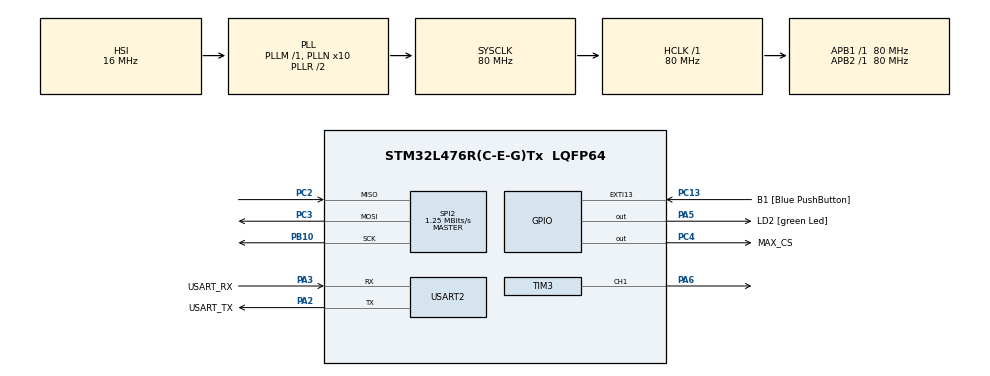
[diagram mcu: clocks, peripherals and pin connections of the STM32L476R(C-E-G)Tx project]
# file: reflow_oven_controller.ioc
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Mcu.Family=STM32L4
PC3.Mode=Full_Duplex_Master
PA2.GPIO_PuPd=GPIO_NOPULL
RCC.CortexFreq_Value=80000000
SPI2.VirtualType=VM_MASTER
PB10.Mode=Full_Duplex_Master
PH0-OSC_IN\ (PH0).Signal=RCC_OSC_IN
PA3.GPIO_PuPd=GPIO_NOPULL
PA2.GPIO_Speed=GPIO_SPEED_FREQ_VERY_HIGH
PC15-OSC32_OUT\ (PC15).Mode=LSE-External-Oscillator
PC13.GPIO_Label=B1 [Blue PushButton]
PA3.GPIO_Speed=GPIO_SPEED_FREQ_VERY_HIGH
RCC.SYSCLKSource=RCC_SYSCLKSOURCE_PLLCLK
ProjectManager.StackSize=0x400
PB3\ (JTDO-TRACESWO).Signal=SYS_JTDO-SWO
PC14-OSC32_IN\ (PC14).Mode=LSE-External-Oscillator
VP_FREERTOS_VS_CMSIS_V2.Mode=CMSIS_V2
PA14\ (JTCK-SWCLK).Signal=SYS_JTCK-SWCLK
RCC.HCLKFreq_Value=80000000
RCC.APB2TimFreq_Value=80000000
TIM3.Period=4095 - 1
PC3.Signal=SPI2_MOSI
RCC.AHBFreq_Value=80000000
RCC.PREFETCH_ENABLE=1
SPI2.BaudRatePrescaler=SPI_BAUDRATEPRESCALER_64
TIM3.Channel-PWM\ Generation1\ CH1=TIM_CHANNEL_1
RCC.HSE_VALUE=8000000
USART2.VirtualMode-Asynchronous=VM_ASYNC
PC4.GPIO_Label=MAX_CS
TIM3.Prescaler=9768 - 1
PA5.GPIO_PuPd=GPIO_NOPULL
PC13.GPIO_PuPd=GPIO_NOPULL
SPI2.CalculateBaudRate=1.25 MBits/s
SH.S_TIM3_CH1.0=TIM3_CH1,PWM Generation1 CH1
FREERTOS.configTOTAL_HEAP_SIZE=15000
Mcu.Package=LQFP64
PA6.Signal=S_TIM3_CH1
NVIC.TimeBase=TIM7_IRQn
SPI2.Mode=SPI_MODE_MASTER
PA2.GPIO_Label=USART_TX
NVIC.TimeBaseIP=TIM7
RCC.APB1TimFreq_Value=80000000
SPI2.Direction=SPI_DIRECTION_2LINES
PA13\ (JTMS-SWDIO).Signal=SYS_JTMS-SWDIO
NVIC.TIM7_IRQn=true\:0\:0\:false\:false\:true\:false\:false\:true
VP_TIM3_VS_ClockSourceINT.Mode=Internal
PA3.Signal=USART2_RX
PA2.GPIO_Mode=GPIO_MODE_AF_PP
RCC.MSI_VALUE=4000000
RCC.PLLSourceVirtual=RCC_PLLSOURCE_HSI
PA14\ (JTCK-SWCLK).Mode=Serial_Wire
FREERTOS.Tasks01=defaultTask,24,512,StartDefaultTask,Default,NULL,Dynamic,NULL,NULL
PC13.Signal=GPXTI13
VP_SYS_VS_tim7.Mode=TIM7
PC2.Signal=SPI2_MISO
PC4.Signal=GPIO_Output
PC2.Mode=Full_Duplex_Master
PC15-OSC32_OUT\ (PC15).Signal=RCC_OSC32_OUT
PA14\ (JTCK-SWCLK).GPIO_Label=TCK
PB3\ (JTDO-TRACESWO).GPIO_Label=SWO
PH1-OSC_OUT\ (PH1).Signal=RCC_OSC_OUT
PA3.Mode=Asynchronous
ProjectManager.TargetToolchain=STM32CubeIDE
PA3.GPIO_Mode=GPIO_MODE_AF_PP
RCC.USBFreq_Value=64000000
PB10.Signal=SPI2_SCK
PA5.Signal=GPIO_Output
board=NUCLEO-L476RG
RCC.VCOOutputFreq_Value=160000000
RCC.APB2Freq_Value=80000000
PA5.GPIO_ModeDefaultOutputPP=GPIO_MODE_OUTPUT_PP
PA13\ (JTMS-SWDIO).GPIO_Label=TMS
RCC.ADCFreq_Value=64000000
Mcu.Name=STM32L476R(C-E-G)Tx
PA2.Signal=USART2_TX
PA13\ (JTMS-SWDIO).Mode=Serial_Wire
RCC.SYSCLKFreq_VALUE=80000000
PA5.GPIO_Label=LD2 [green Led]
PC13.GPIO_ModeDefaultEXTI=GPIO_MODE_IT_FALLING
PC14-OSC32_IN\ (PC14).Signal=RCC_OSC32_IN
ProjectManager.HeapSize=0x200
RCC.HSI_VALUE=16000000
PA5.GPIO_Speed=GPIO_SPEED_FREQ_LOW
NVIC.PriorityGroup=NVIC_PRIORITYGROUP_4
RCC.PLLN=10
PA2.Mode=Asynchronous
SPI2.DataSize=SPI_DATASIZE_8BIT
RCC.APB1Freq_Value=80000000
PA3.GPIO_Label=USART_RX

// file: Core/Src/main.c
/* USER CODE BEGIN Header */
/**
  ******************************************************************************
  * @file           : main.c
  * @brief          : Main program body
  ******************************************************************************
  * @attention
  *
  * <h2><center>&copy; Copyright (c) 2021 STMicroelectronics.
  * All rights reserved.</center></h2>
  *
  * This software component is licensed by ST under BSD 3-Clause license,
  * the "License"; You may not use this file except in compliance with the
  * License. You may obtain a copy of the License at:
  *                        opensource.org/licenses/BSD-3-Clause
  *
  ******************************************************************************
  */
/* USER CODE END Header */
#include "main.h"
#include "cmsis_os.h"

/* USER CODE BEGIN Includes */
#include "string.h"
#include "printf.h"
#include "uart.h"
#include "console.h"
#include "cmd.h"
#include "log.h"
#include "reflow.h"
/* USER CODE END Includes */

SPI_HandleTypeDef hspi2;

TIM_HandleTypeDef htim3;

/* Definitions for defaultTask */
osThreadId_t defaultTaskHandle;
const osThreadAttr_t defaultTask_attributes = {
    .name = "defaultTask",
    .stack_size = 512 * 4,
    .priority = (osPriority_t)osPriorityNormal,
};
/* USER CODE BEGIN PV */

static const Reflow_cfg_t reflow_cfg =
    {
        .pwm_timer_handle = &htim3,   // PWM Timer handle.
        .pwm_channel = TIM_CHANNEL_1, // PWM Timer channel.
        .max_cfg = {                  // MAX31855K Thermocouple IC configuration structure.
                    .hspi = &hspi2,
                    .max_cs_port = MAX_CS_GPIO_Port,
                    .max_cs_pin = MAX_CS_Pin}};
/* USER CODE END PV */

void SystemClock_Config(void);
static void MX_GPIO_Init(void);
static void MX_USART2_UART_Init(void);
static void MX_TIM3_Init(void);
static void MX_SPI2_Init(void);
void StartDefaultTask(void *argument);

int main(void)
{

    /* MCU Configuration--------------------------------------------------------*/

    /* Reset of all peripherals, Initializes the Flash interface and the Systick. */
    HAL_Init();

    /* Configure the system clock */
    SystemClock_Config();

    /* Initialize all configured peripherals */
    MX_GPIO_Init();
    MX_USART2_UART_Init();
    MX_TIM3_Init();
    MX_SPI2_Init();
    /* USER CODE BEGIN 2 */
    uart_config_t uart_cfg = {.uart_reg_base = USART2, .irq_num = USART2_IRQn};
    uart_init(&uart_cfg);
    uart_start();
    HAL_GPIO_WritePin(LD2_GPIO_Port, LD2_Pin, GPIO_PIN_SET);
    /* USER CODE END 2 */

    /* Init scheduler */
    osKernelInitialize();

    /* Create the thread(s) */
    /* creation of defaultTask */
    defaultTaskHandle = osThreadNew(StartDefaultTask, NULL, &defaultTask_attributes);

    /* Start scheduler */
    osKernelStart();

    /* We should never get here as control is now taken by the scheduler */
    /* Infinite loop */
    while (1)
    {

    }
}

void SystemClock_Config(void)
{
    RCC_OscInitTypeDef RCC_OscInitStruct = {0};
    RCC_ClkInitTypeDef RCC_ClkInitStruct = {0};
    RCC_PeriphCLKInitTypeDef PeriphClkInit = {0};

    /** Initializes the RCC Oscillators according to the specified parameters
  * in the RCC_OscInitTypeDef structure.
  */
    RCC_OscInitStruct.OscillatorType = RCC_OSCILLATORTYPE_HSI;
    RCC_OscInitStruct.HSIState = RCC_HSI_ON;
    RCC_OscInitStruct.HSICalibrationValue = RCC_HSICALIBRATION_DEFAULT;
    RCC_OscInitStruct.PLL.PLLState = RCC_PLL_ON;
    RCC_OscInitStruct.PLL.PLLSource = RCC_PLLSOURCE_HSI;
    RCC_OscInitStruct.PLL.PLLM = 1;
    RCC_OscInitStruct.PLL.PLLN = 10;
    RCC_OscInitStruct.PLL.PLLP = RCC_PLLP_DIV7;
    RCC_OscInitStruct.PLL.PLLQ = RCC_PLLQ_DIV2;
    RCC_OscInitStruct.PLL.PLLR = RCC_PLLR_DIV2;
    if (HAL_RCC_OscConfig(&RCC_OscInitStruct) != HAL_OK)
    {
        Error_Handler();
    }
    /** Initializes the CPU, AHB and APB buses clocks
  */
    RCC_ClkInitStruct.ClockType = RCC_CLOCKTYPE_HCLK | RCC_CLOCKTYPE_SYSCLK | RCC_CLOCKTYPE_PCLK1 | RCC_CLOCKTYPE_PCLK2;
    RCC_ClkInitStruct.SYSCLKSource = RCC_SYSCLKSOURCE_PLLCLK;
    RCC_ClkInitStruct.AHBCLKDivider = RCC_SYSCLK_DIV1;
    RCC_ClkInitStruct.APB1CLKDivider = RCC_HCLK_DIV1;
    RCC_ClkInitStruct.APB2CLKDivider = RCC_HCLK_DIV1;

    if (HAL_RCC_ClockConfig(&RCC_ClkInitStruct, FLASH_LATENCY_4) != HAL_OK)
    {
        Error_Handler();
    }
    PeriphClkInit.PeriphClockSelection = RCC_PERIPHCLK_USART2;
    PeriphClkInit.Usart2ClockSelection = RCC_USART2CLKSOURCE_PCLK1;
    if (HAL_RCCEx_PeriphCLKConfig(&PeriphClkInit) != HAL_OK)
    {
        Error_Handler();
    }
    /** Configure the main internal regulator output voltage
  */
    if (HAL_PWREx_ControlVoltageScaling(PWR_REGULATOR_VOLTAGE_SCALE1) != HAL_OK)
    {
        Error_Handler();
    }
}

static void MX_SPI2_Init(void)
{

    /* SPI2 parameter configuration*/
    hspi2.Instance = SPI2;
    hspi2.Init.Mode = SPI_MODE_MASTER;
    hspi2.Init.Direction = SPI_DIRECTION_2LINES;
    hspi2.Init.DataSize = SPI_DATASIZE_8BIT;
    hspi2.Init.CLKPolarity = SPI_POLARITY_LOW;
    hspi2.Init.CLKPhase = SPI_PHASE_1EDGE;
    hspi2.Init.NSS = SPI_NSS_SOFT;
    hspi2.Init.BaudRatePrescaler = SPI_BAUDRATEPRESCALER_64;
    hspi2.Init.FirstBit = SPI_FIRSTBIT_MSB;
    hspi2.Init.TIMode = SPI_TIMODE_DISABLE;
    hspi2.Init.CRCCalculation = SPI_CRCCALCULATION_DISABLE;
    hspi2.Init.CRCPolynomial = 7;
    hspi2.Init.CRCLength = SPI_CRC_LENGTH_DATASIZE;
    hspi2.Init.NSSPMode = SPI_NSS_PULSE_ENABLE;
    if (HAL_SPI_Init(&hspi2) != HAL_OK)
    {
        Error_Handler();
    }
}

static void MX_TIM3_Init(void)
{

    TIM_ClockConfigTypeDef sClockSourceConfig = {0};
    TIM_MasterConfigTypeDef sMasterConfig = {0};
    TIM_OC_InitTypeDef sConfigOC = {0};

    htim3.Instance = TIM3;
    htim3.Init.Prescaler = 9768 - 1;
    htim3.Init.CounterMode = TIM_COUNTERMODE_UP;
    htim3.Init.Period = 4095 - 1;
    htim3.Init.ClockDivision = TIM_CLOCKDIVISION_DIV1;
    htim3.Init.AutoReloadPreload = TIM_AUTORELOAD_PRELOAD_DISABLE;
    if (HAL_TIM_Base_Init(&htim3) != HAL_OK)
    {
        Error_Handler();
    }
    sClockSourceConfig.ClockSource = TIM_CLOCKSOURCE_INTERNAL;
    if (HAL_TIM_ConfigClockSource(&htim3, &sClockSourceConfig) != HAL_OK)
    {
        Error_Handler();
    }
    if (HAL_TIM_PWM_Init(&htim3) != HAL_OK)
    {
        Error_Handler();
    }
    sMasterConfig.MasterOutputTrigger = TIM_TRGO_RESET;
    sMasterConfig.MasterSlaveMode = TIM_MASTERSLAVEMODE_DISABLE;
    if (HAL_TIMEx_MasterConfigSynchronization(&htim3, &sMasterConfig) != HAL_OK)
    {
        Error_Handler();
    }
    sConfigOC.OCMode = TIM_OCMODE_PWM1;
    sConfigOC.Pulse = 0;
    sConfigOC.OCPolarity = TIM_OCPOLARITY_HIGH;
    sConfigOC.OCFastMode = TIM_OCFAST_DISABLE;
    if (HAL_TIM_PWM_ConfigChannel(&htim3, &sConfigOC, TIM_CHANNEL_1) != HAL_OK)
    {
        Error_Handler();
    }
    HAL_TIM_MspPostInit(&htim3);
}

static void MX_USART2_UART_Init(void)
{

    LL_USART_InitTypeDef USART_InitStruct = {0};

    LL_GPIO_InitTypeDef GPIO_InitStruct = {0};

    /* Peripheral clock enable */
    LL_APB1_GRP1_EnableClock(LL_APB1_GRP1_PERIPH_USART2);

    LL_AHB2_GRP1_EnableClock(LL_AHB2_GRP1_PERIPH_GPIOA);
    /**USART2 GPIO Configuration
  PA2   ------> USART2_TX
  PA3   ------> USART2_RX
  */
    GPIO_InitStruct.Pin = LL_GPIO_PIN_2 | LL_GPIO_PIN_3;
    GPIO_InitStruct.Mode = LL_GPIO_MODE_ALTERNATE;
    GPIO_InitStruct.Speed = LL_GPIO_SPEED_FREQ_VERY_HIGH;
    GPIO_InitStruct.OutputType = LL_GPIO_OUTPUT_PUSHPULL;
    GPIO_InitStruct.Pull = LL_GPIO_PULL_NO;
    GPIO_InitStruct.Alternate = LL_GPIO_AF_7;
    LL_GPIO_Init(GPIOA, &GPIO_InitStruct);

    USART_InitStruct.BaudRate = 115200;
    USART_InitStruct.DataWidth = LL_USART_DATAWIDTH_8B;
    USART_InitStruct.StopBits = LL_USART_STOPBITS_1;
    USART_InitStruct.Parity = LL_USART_PARITY_NONE;
    USART_InitStruct.TransferDirection = LL_USART_DIRECTION_TX_RX;
    USART_InitStruct.HardwareFlowControl = LL_USART_HWCONTROL_NONE;
    USART_InitStruct.OverSampling = LL_USART_OVERSAMPLING_16;
    LL_USART_Init(USART2, &USART_InitStruct);
    LL_USART_ConfigAsyncMode(USART2);
    LL_USART_Enable(USART2);
}

static void MX_GPIO_Init(void)
{
    GPIO_InitTypeDef GPIO_InitStruct = {0};

    /* GPIO Ports Clock Enable */
    __HAL_RCC_GPIOC_CLK_ENABLE();
    __HAL_RCC_GPIOH_CLK_ENABLE();
    __HAL_RCC_GPIOA_CLK_ENABLE();
    __HAL_RCC_GPIOB_CLK_ENABLE();

    /*Configure GPIO pin Output Level */
    HAL_GPIO_WritePin(LD2_GPIO_Port, LD2_Pin, GPIO_PIN_RESET);

    /*Configure GPIO pin Output Level */
    HAL_GPIO_WritePin(MAX_CS_GPIO_Port, MAX_CS_Pin, GPIO_PIN_RESET);

    /*Configure GPIO pin : B1_Pin */
    GPIO_InitStruct.Pin = B1_Pin;
    GPIO_InitStruct.Mode = GPIO_MODE_IT_FALLING;
    GPIO_InitStruct.Pull = GPIO_NOPULL;
    HAL_GPIO_Init(B1_GPIO_Port, &GPIO_InitStruct);

    /*Configure GPIO pin : LD2_Pin */
    GPIO_InitStruct.Pin = LD2_Pin;
    GPIO_InitStruct.Mode = GPIO_MODE_OUTPUT_PP;
    GPIO_InitStruct.Pull = GPIO_NOPULL;
    GPIO_InitStruct.Speed = GPIO_SPEED_FREQ_LOW;
    HAL_GPIO_Init(LD2_GPIO_Port, &GPIO_InitStruct);

    /*Configure GPIO pin : MAX_CS_Pin */
    GPIO_InitStruct.Pin = MAX_CS_Pin;
    GPIO_InitStruct.Mode = GPIO_MODE_OUTPUT_PP;
    GPIO_InitStruct.Pull = GPIO_NOPULL;
    GPIO_InitStruct.Speed = GPIO_SPEED_FREQ_LOW;
    HAL_GPIO_Init(MAX_CS_GPIO_Port, &GPIO_InitStruct);
}

void StartDefaultTask(void *argument)
{
    /* USER CODE BEGIN 5 */

    console_init();
    cmd_init();
    log_init();

    reflow_init(&reflow_cfg);

    console_start();
    cmd_start();
    reflow_start();

    osThreadTerminate(defaultTaskHandle);
    /* Infinite loop */
    for (;;)
    {
        osDelay(1);
    }
    /* USER CODE END 5 */
}

void HAL_TIM_PeriodElapsedCallback(TIM_HandleTypeDef *htim)
{
    if (htim->Instance == TIM7)
    {
        HAL_IncTick();
    }
}

void Error_Handler(void)
{
    __disable_irq();
    while (1)
    {
    }
}

/************************ (C) COPYRIGHT STMicroelectronics *****END OF FILE****/
